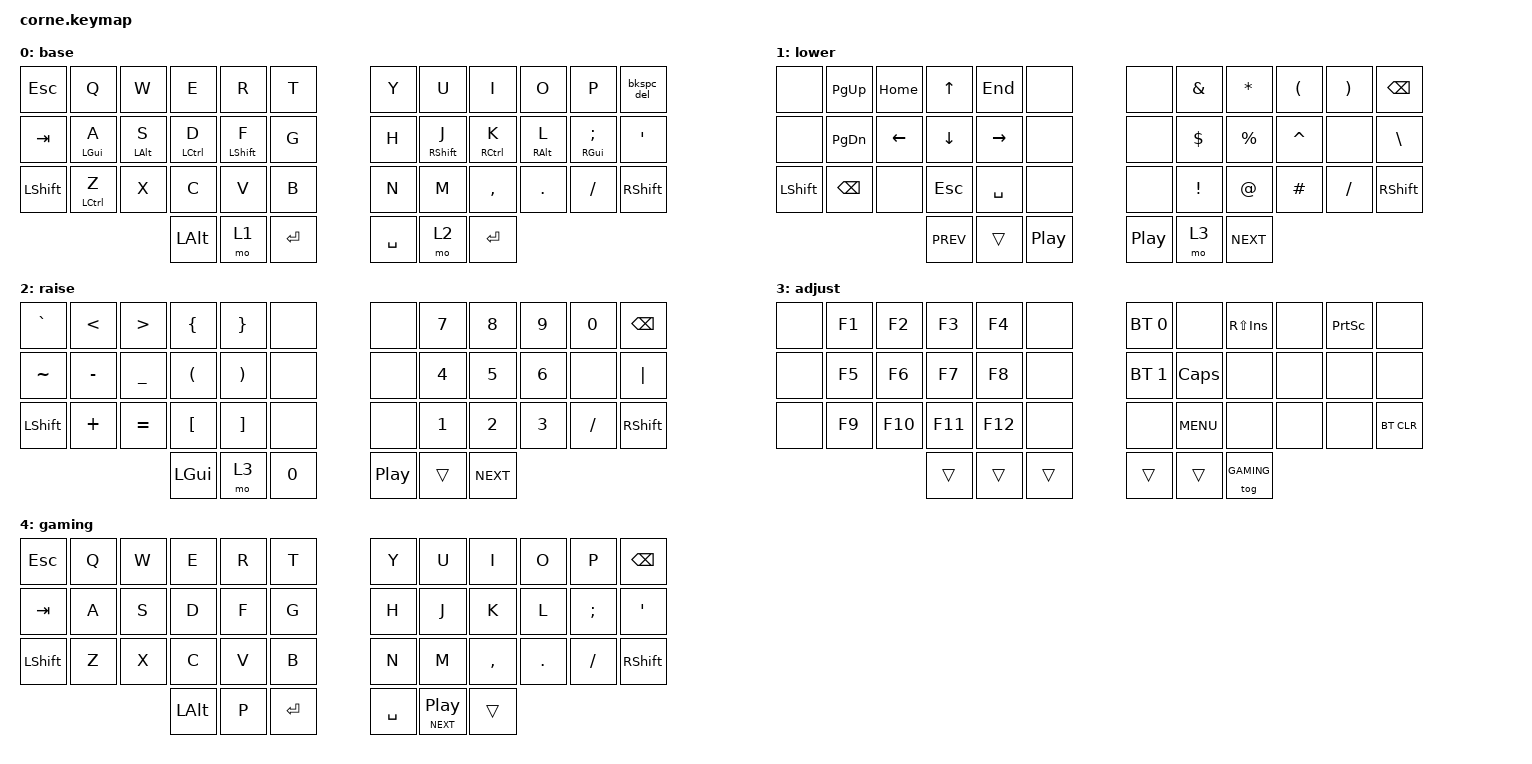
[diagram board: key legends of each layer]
/*
 * Copyright (c) 2020 The ZMK Contributors
 *
 * SPDX-License-Identifier: MIT
 */

/*                 36 KEY MATRIX

  ╭────────────────────────┬────────────────────────╮
  │  0   1   2   3   4   5 │  6   7   8   9  10  11 │
  │ 12  13  14  15  16  17 │ 18  19  20  21  22  23 │
  │ 24  25  26  27  28  29 │ 30  31  32  33  34  35 │
  ╰───────────╮ 36  37  38 │ 39  40  41 ╭───────────╯
              ╰────────────┴────────────╯              */

#include <behaviors.dtsi>
#include <dt-bindings/zmk/bt.h>
#include <dt-bindings/zmk/keys.h>

#define KEYS_L   0  1  2  3  4  5 12 13 14 15 16 17 24 26 26 27 28 29
#define KEYS_R   6  7  8  9 10 11 18 19 20 21 22 23 30 31 32 33 34 35
#define THUMBS  36 37 38 39 40 41

#define BASE   0
#define LOWER  1
#define RAISE  2
#define ADJUST 3
#define GAMING 4

/ {
    behaviors {
        bkspc_del: backspace_delete {
            compatible = "zmk,behavior-mod-morph";
            #binding-cells = <0>;
            bindings = <&kp BACKSPACE>, <&kp DELETE>;
            mods = <(MOD_LSFT|MOD_RSFT)>;
            keep-mods = <(MOD_RSFT)>;
        };

        capsWord: capsWord {
            compatible = "zmk,behavior-caps-word";
            label = "CAPSWORD";
            #binding-cells = <0>;
            mods = <(MOD_LSFT|MOD_RSFT)>;
            continue-list = <MINUS BACKSPACE>;
        };

        myht: my_hold_tap {     // rename for brevity
            compatible = "zmk,behavior-hold-tap";
            #binding-cells = <2>;
            flavor = "balanced";
            tapping-term-ms = <250>;
            quick-tap-ms = <175>;
            bindings = <&kp>, <&kp>;
        };

        lt_bkspc: layer_tap_bkspc {   // rename for brevity
            compatible = "zmk,behavior-hold-tap";
            #binding-cells = <2>;
            flavor = "balanced";
            tapping-term-ms = <250>;
            quick-tap-ms = <175>;
            bindings = <&mo>, <&bkspc_del>;  // will still need to pass 2nd arg when envoking
        };

/*


    Noticeable delay when tapping HRMs: Increase require-prior-idle-ms. As a rule of thumb, you want to set it to at least
        10500/x where x is your (relaxed) WPM for English prose.4
    
    False negatives (same-hand): Reduce tapping-term-ms (or disable hold-trigger-key-positions)
    
    False negatives (cross-hand): Reduce require-prior-idle-ms (or set flavor to hold-preferred -- to continue using
        hold-trigger-on-release, you must also patch ZMK or use an already patched branch)
    
    False positives (same-hand): Increase tapping-term-ms
    
    False positives (cross-hand): Increase require-prior-idle-ms (or set flavor to tap-preferred, which requires holding
        HRMs past tapping term to activate)


*/



        hml: homerow_mods_left {
            compatible = "zmk,behavior-hold-tap";
            #binding-cells = <2>;
            bindings = <&kp>,  <&kp>;

            flavor = "balanced";
            tapping-term-ms = <250>;
            quick-tap-ms = <175>;                // repeat on tap-into-hold
            require-prior-idle-ms = <75>;       // decrease if having cross hand false negatives

            //hold-trigger-key-positions = <KEYS_R THUMBS>;  // remove thumbs so alt tab works better?
            hold-trigger-on-release;
        };

        hmr: homerow_mods_right {
            compatible = "zmk,behavior-hold-tap";
            #binding-cells = <2>;
            bindings = <&kp>, <&kp>;

            flavor = "balanced";
            tapping-term-ms = <250>;
            quick-tap-ms = <175>;
            require-prior-idle-ms = <75>;       // decrease if having cross hand false negatives

            //hold-trigger-key-positions = <KEYS_L THUMBS>;
            hold-trigger-on-release;
        };
    };

    combos {
        compatible = "zmk,combos";

        capsLockCombo {
            bindings = <&kp CAPSLOCK>;
            key-positions = <28 31>;  // V + M
        };

        capsWordCombo {
            bindings = <&capsWord>;
            key-positions = <27 32>;  // C + ,
        };

        menuCombo {
            bindings = <&kp K_CONTEXT_MENU>;
            key-positions = <26 33>;  // X + .
        };

//        escCombo {
//            bindings = <&kp ESCAPE>;
//            key-positions = <3 4>;    // E + R
//            require-prior-idle-ms = <50>;  // increase if having false positives
//        };
    };

    keymap {
        compatible = "zmk,keymap";

        base {
            bindings = <
// ╭─────────────┬─────────────┬─────────────┬─────────────┬─────────────┬─────────────╮ ╭─────────────┬─────────────┬─────────────┬─────────────┬─────────────┬─────────────╮ 
     &kp ESCAPE    &kp Q         &kp W         &kp E         &kp R         &kp T           &kp Y         &kp U         &kp I         &kp O         &kp P         &bkspc_del
// ├─────────────┼─────────────┼─────────────┼─────────────┼─────────────┼─────────────┤ ├─────────────┼─────────────┼─────────────┼─────────────┼─────────────┼─────────────┤
     &kp TAB       &hml LGUI A   &hml LALT S   &hml LCTRL D  &hml LSHFT F  &kp G           &kp H         &hmr RSHFT J  &hmr RCTRL K  &hmr RALT L  &hmr RGUI SEMI &kp SQT
// ├─────────────┼─────────────┼─────────────┼─────────────┼─────────────┼─────────────┤ ├─────────────┼─────────────┼─────────────┼─────────────┼─────────────┼─────────────┤
     &kp LSHFT     &mt LCTRL Z   &kp X         &kp C         &kp V         &kp B           &kp N         &kp M         &kp COMMA     &kp DOT       &kp FSLH      &kp RSHFT
// ╰─────────────┴─────────────┴─────────────┼─────────────┼─────────────┼─────────────┤ ├─────────────┼─────────────┼─────────────┼─────────────┴─────────────┴─────────────╯
                                               &kp LALT      &mo 1         &kp RET         &kp SPACE     &mo 2         &kp RET
//                                           ╰─────────────┴─────────────┴─────────────╯ ╰─────────────┴─────────────┴─────────────╯
            >;
        };

        lower {
            bindings = <
// ╭─────────────┬─────────────┬─────────────┬─────────────┬─────────────┬─────────────╮ ╭─────────────┬─────────────┬─────────────┬─────────────┬─────────────┬─────────────╮ 
     &none         &kp PG_UP     &kp HOME      &kp UP        &kp END       &none           &none         &kp AMPS      &kp STAR      &kp LPAR      &kp RPAR      &kp BSPC
// ├─────────────┼─────────────┼─────────────┼─────────────┼─────────────┼─────────────┤ ├─────────────┼─────────────┼─────────────┼─────────────┼─────────────┼─────────────┤
     &none         &kp PG_DN     &kp LEFT      &kp DOWN      &kp RIGHT     &none           &none         &kp DOLLAR    &kp PERCENT   &kp CARET     &none         &kp BSLH
// ├─────────────┼─────────────┼─────────────┼─────────────┼─────────────┼─────────────┤ ├─────────────┼─────────────┼─────────────┼─────────────┼─────────────┼─────────────┤
     &kp LSHFT     &kp BSPC      &none         &kp ESC       &kp SPC       &none           &none         &kp EXCL      &kp AT_SIGN  &kp HASH       &kp FSLH      &kp RSHFT
// ╰─────────────┴─────────────┴─────────────┼─────────────┼─────────────┼─────────────┤ ├─────────────┼─────────────┼─────────────┼─────────────┴─────────────┴─────────────╯
                                               &kp C_PREV    &trans        &kp C_PP        &kp C_PP      &mo 3         &kp C_NEXT
//                                           ╰─────────────┴─────────────┴─────────────╯ ╰─────────────┴─────────────┴─────────────╯
            >;
        };

        raise {
            bindings = <
// ╭─────────────┬─────────────┬─────────────┬─────────────┬─────────────┬─────────────╮ ╭─────────────┬─────────────┬─────────────┬─────────────┬─────────────┬─────────────╮ 
     &kp GRAVE     &kp LT        &kp GT        &kp LBRC      &kp RBRC      &none           &none         &kp N7        &kp N8        &kp N9        &kp N0        &kp BSPC
// ├─────────────┼─────────────┼─────────────┼─────────────┼─────────────┼─────────────┤ ├─────────────┼─────────────┼─────────────┼─────────────┼─────────────┼─────────────┤
     &kp TILDE     &kp MINUS     &kp UNDER     &kp LPAR      &kp RPAR      &none           &none         &kp N4        &kp N5        &kp N6        &none         &kp PIPE
// ├─────────────┼─────────────┼─────────────┼─────────────┼─────────────┼─────────────┤ ├─────────────┼─────────────┼─────────────┼─────────────┼─────────────┼─────────────┤
     &kp LSHFT     &kp PLUS      &kp EQUAL     &kp LBKT      &kp RBKT      &none           &none         &kp N1        &kp N2        &kp N3        &kp FSLH      &kp RSHFT
// ╰─────────────┴─────────────┴─────────────┼─────────────┼─────────────┼─────────────┤ ├─────────────┼─────────────┼─────────────┼─────────────┴─────────────┴─────────────╯
                                               &kp LGUI      &mo 3         &kp N0          &kp C_PP      &trans        &kp C_NEXT
//                                           ╰─────────────┴─────────────┴─────────────╯ ╰─────────────┴─────────────┴─────────────╯
            >;
        };

        adjust {
            bindings = <
// ╭─────────────┬─────────────┬─────────────┬─────────────┬─────────────┬─────────────╮ ╭─────────────┬─────────────┬─────────────┬─────────────┬─────────────┬─────────────╮ 
     &none         &kp F1        &kp F2        &kp F3        &kp F4        &none           &bt BT_SEL 0  &none         &kp RS(INS)   &none         &kp PSCRN     &none
// ├─────────────┼─────────────┼─────────────┼─────────────┼─────────────┼─────────────┤ ├─────────────┼─────────────┼─────────────┼─────────────┼─────────────┼─────────────┤
     &none         &kp F5        &kp F6        &kp F7        &kp F8        &none           &bt BT_SEL 1  &kp CAPSLOCK  &none         &none         &none         &none
// ├─────────────┼─────────────┼─────────────┼─────────────┼─────────────┼─────────────┤ ├─────────────┼─────────────┼─────────────┼─────────────┼─────────────┼─────────────┤
     &none         &kp F9        &kp F10       &kp F11       &kp F12       &none           &none         &kp C_MENU    &none        &none          &none         &bt BT_CLR
// ╰─────────────┴─────────────┴─────────────┼─────────────┼─────────────┼─────────────┤ ├─────────────┼─────────────┼─────────────┼─────────────┴─────────────┴─────────────╯
                                               &trans        &trans        &trans          &trans        &trans        &tog GAMING
//                                           ╰─────────────┴─────────────┴─────────────╯ ╰─────────────┴─────────────┴─────────────╯
            >;
        };

        gaming {
            bindings = <
// ╭─────────────┬─────────────┬─────────────┬─────────────┬─────────────┬─────────────╮ ╭─────────────┬─────────────┬─────────────┬─────────────┬─────────────┬─────────────╮ 
     &kp ESCAPE    &kp Q         &kp W         &kp E         &kp R         &kp T           &kp Y         &kp U         &kp I         &kp O         &kp P         &kp BSPC
// ├─────────────┼─────────────┼─────────────┼─────────────┼─────────────┼─────────────┤ ├─────────────┼─────────────┼─────────────┼─────────────┼─────────────┼─────────────┤
     &kp TAB       &kp A         &kp S         &kp D         &kp F         &kp G           &kp H         &kp J         &kp K         &kp L         &kp SEMI      &kp SQT
// ├─────────────┼─────────────┼─────────────┼─────────────┼─────────────┼─────────────┤ ├─────────────┼─────────────┼─────────────┼─────────────┼─────────────┼─────────────┤
     &kp LSHFT     &kp Z         &kp X         &kp C         &kp V         &kp B           &kp N         &kp M         &kp COMMA     &kp PERIOD    &kp SLASH     &kp RSHFT
// ╰─────────────┴─────────────┴─────────────┼─────────────┼─────────────┼─────────────┤ ├─────────────┼─────────────┼─────────────┼─────────────┴─────────────┴─────────────╯
                                               &kp LALT      &kp P        &kp ENTER       &kp SPACE      &mt C_NEXT C_PP  &trans
//                                           ╰─────────────┴─────────────┴─────────────╯ ╰─────────────┴─────────────┴─────────────╯
            >;
        };

        // add in a helldivers layer?
    };
};
